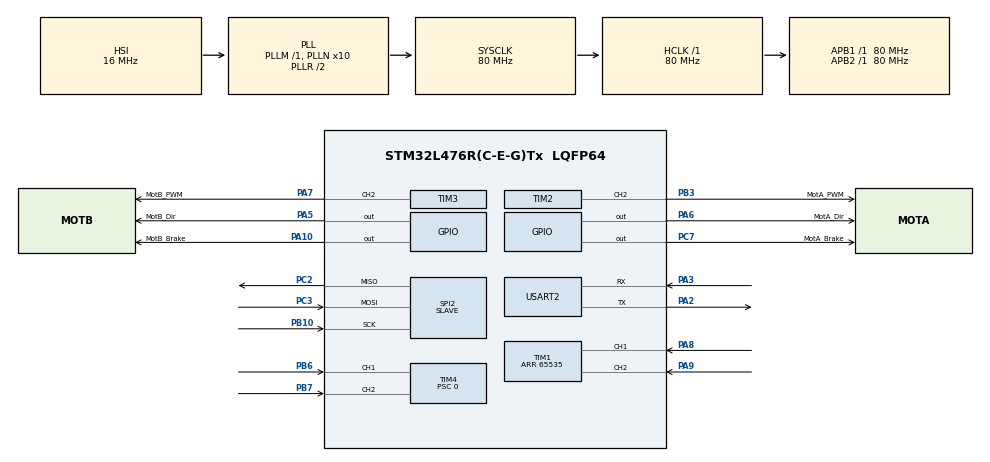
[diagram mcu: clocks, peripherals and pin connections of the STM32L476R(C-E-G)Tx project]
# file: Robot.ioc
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Mcu.Family=STM32L4
Mcu.Name=STM32L476R(C-E-G)Tx
Mcu.Package=LQFP64
NVIC.PriorityGroup=NVIC_PRIORITYGROUP_4
NVIC.TIM4_IRQn=true\:0\:0\:false\:false\:true\:true\:true
NVIC.USART2_IRQn=true\:0\:0\:false\:false\:true\:true\:true
PA10.GPIO_Label=MotB_Brake
PA10.Signal=GPIO_Output
PA2.Mode=Asynchronous
PA2.Signal=USART2_TX
PA3.Mode=Asynchronous
PA3.Signal=USART2_RX
PA5.GPIO_Label=MotB_Dir
PA5.Signal=GPIO_Output
PA6.GPIO_Label=MotA_Dir
PA6.Signal=GPIO_Output
PA7.GPIO_Label=MotB_PWM
PA7.Signal=S_TIM3_CH2
PA8.GPIO_PuPd=GPIO_PULLUP
PA8.Signal=S_TIM1_CH1
PA9.GPIO_PuPd=GPIO_PULLUP
PA9.Signal=S_TIM1_CH2
PB10.Mode=Full_Duplex_Slave
PB10.Signal=SPI2_SCK
PB3\ (JTDO-TRACESWO).GPIO_Label=MotA_PWM
PB3\ (JTDO-TRACESWO).Signal=S_TIM2_CH2
PB6.GPIO_PuPd=GPIO_PULLUP
PB6.Signal=S_TIM4_CH1
PB7.GPIO_PuPd=GPIO_PULLUP
PB7.Signal=S_TIM4_CH2
PC14-OSC32_IN\ (PC14).Mode=LSE-External-Oscillator
PC14-OSC32_IN\ (PC14).Signal=RCC_OSC32_IN
PC15-OSC32_OUT\ (PC15).Mode=LSE-External-Oscillator
PC15-OSC32_OUT\ (PC15).Signal=RCC_OSC32_OUT
PC2.Mode=Full_Duplex_Slave
PC2.Signal=SPI2_MISO
PC3.Mode=Full_Duplex_Slave
PC3.Signal=SPI2_MOSI
PC7.GPIO_Label=MotA_Brake
PC7.Signal=GPIO_Output
ProjectManager.HeapSize=0x200
ProjectManager.StackSize=0x400
ProjectManager.TargetToolchain=STM32CubeIDE
RCC.ADCFreq_Value=64000000
RCC.AHBFreq_Value=80000000
RCC.APB1Freq_Value=80000000
RCC.APB1TimFreq_Value=80000000
RCC.APB2Freq_Value=80000000
RCC.APB2TimFreq_Value=80000000
RCC.CortexFreq_Value=80000000
RCC.HCLKFreq_Value=80000000
RCC.HSE_VALUE=8000000
RCC.HSI_VALUE=16000000
RCC.MSI_VALUE=4000000
RCC.PLLN=10
RCC.PLLSourceVirtual=RCC_PLLSOURCE_HSI
RCC.PREFETCH_ENABLE=1
RCC.SYSCLKFreq_VALUE=80000000
RCC.SYSCLKSource=RCC_SYSCLKSOURCE_PLLCLK
RCC.USBFreq_Value=64000000
RCC.VCOOutputFreq_Value=160000000
SH.S_TIM1_CH1.0=TIM1_CH1,Encoder_Interface
SH.S_TIM1_CH2.0=TIM1_CH2,Encoder_Interface
SH.S_TIM2_CH2.0=TIM2_CH2,PWM Generation2 CH2
SH.S_TIM3_CH2.0=TIM3_CH2,PWM Generation2 CH2
SH.S_TIM4_CH1.0=TIM4_CH1,Encoder_Interface
SH.S_TIM4_CH2.0=TIM4_CH2,Encoder_Interface
SPI2.Direction=SPI_DIRECTION_2LINES
SPI2.Mode=SPI_MODE_SLAVE
SPI2.VirtualType=VM_SLAVE
TIM1.EncoderMode=TIM_ENCODERMODE_TI12
TIM1.IC1Filter=15
TIM1.IC2Filter=15
TIM1.Period=65535
TIM2.Channel-PWM\ Generation2\ CH2=TIM_CHANNEL_2
TIM3.Channel-PWM\ Generation2\ CH2=TIM_CHANNEL_2
TIM4.EncoderMode=TIM_ENCODERMODE_TI12
TIM4.IC1Filter=0
TIM4.IC2Filter=0
TIM4.Period=65535
TIM4.Prescaler=0
USART2.VirtualMode-Asynchronous=VM_ASYNC
board=NUCLEO-L476RG

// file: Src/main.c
/* USER CODE BEGIN Header */
/**
  ******************************************************************************
  * @file           : main.c
  * @brief          : Main program body
  ******************************************************************************
  * @attention
  *
  * <h2><center>&copy; Copyright (c) 2019 STMicroelectronics.
  * All rights reserved.</center></h2>
  *
  * This software component is licensed by ST under BSD 3-Clause license,
  * the "License"; You may not use this file except in compliance with the
  * License. You may obtain a copy of the License at:
  *                        opensource.org/licenses/BSD-3-Clause
  *
  ******************************************************************************
  */
/* USER CODE END Header */

#include "main.h"

/* USER CODE BEGIN Includes */
#include "string.h"
#include <stdio.h>
#include "robot.h"
#include "gcode.h"
#include "command.h"
/* USER CODE END Includes */

SPI_HandleTypeDef hspi2;

TIM_HandleTypeDef htim1;
TIM_HandleTypeDef htim2;
TIM_HandleTypeDef htim3;
TIM_HandleTypeDef htim4;

UART_HandleTypeDef huart2;

void SystemClock_Config(void);
static void MX_GPIO_Init(void);
static void MX_USART2_UART_Init(void);
static void MX_SPI2_Init(void);
static void MX_TIM2_Init(void);
static void MX_TIM4_Init(void);
static void MX_TIM1_Init(void);
static void MX_TIM3_Init(void);

/* USER CODE BEGIN 0 */

UART_HandleTypeDef huart2;

/* Single byte to store input */

char buffer[190];
uint8_t byte;
char command[190];
char *c = command;
gcodeCommand_context gcodeCommand;

void SystemClock_Config(void);

/* UART2 Interrupt Service Routine */
//void USART2_IRQHandler(void)
//{
//  HAL_UART_IRQHandler(&huart2);
//}

/* This callback is called by the HAL_UART_IRQHandler when the given number of bytes are received */
//void HAL_UART_RxCpltCallback(UART_HandleTypeDef *huart)
//{
//  if (huart->Instance == USART2)
//  {
//    /* Transmit one byte with 100 ms timeout */
//    HAL_UART_Transmit(&huart2, &byte, 1, 100);
//
//    /* Receive one byte in interrupt mode */
//    HAL_UART_Receive_IT(&huart2, &byte, 1);
//  }
//}
void HAL_UART_RxCpltCallback(UART_HandleTypeDef *huart);
//{
//  if (huart->Instance == USART2)
//  {
//	   *c = byte;
//	    c = c+1;
//
//	    if ((int)(c-command[0]) >= 190){
//	        // error, command cannot be longer than 190 char.
//	    }
//	    else if (byte == '\n'){ // ou fin de chaine
//	        if (gcode_parseAscii(&gcodeCommand, command)){
//	//        	HAL_UART_Transmit(&huart2, (uint8_t*)command, sprintf(buffer, command), 90000);
//	            peekCommand(&gcodeCommand, &robot);
//	        	HAL_UART_Transmit(&huart2, (uint8_t*)buffer, sprintf(buffer, "command's G: %d\r\n", gcodeCommand.G), 90000);
//
//	            c = command;
//	        }
//	        else {
//	            // error in command
//	        }
//	    }
//	    /* Receive one byte in interrupt mode */
//	    HAL_UART_Receive_IT(&huart2, &byte, 1);
//  }
//}

void uart_gpio_init()
{
  GPIO_InitTypeDef GPIO_InitStruct;

  __GPIOA_CLK_ENABLE();

  /**USART2 GPIO Configuration
  PA2     ------> USART2_TX
  PA3     ------> USART2_RX
  */
  GPIO_InitStruct.Pin = GPIO_PIN_2 | GPIO_PIN_3;
  GPIO_InitStruct.Mode = GPIO_MODE_AF_PP;
  GPIO_InitStruct.Pull = GPIO_PULLUP;
  GPIO_InitStruct.Speed = GPIO_SPEED_LOW;
  GPIO_InitStruct.Alternate = GPIO_AF7_USART2;
  HAL_GPIO_Init(GPIOA, &GPIO_InitStruct);
}

void uart_init()
{
  __USART2_CLK_ENABLE();

  huart2.Instance = USART2;
  huart2.Init.BaudRate = 115200;
  huart2.Init.WordLength = UART_WORDLENGTH_8B;
  huart2.Init.StopBits = UART_STOPBITS_1;
  huart2.Init.Parity = UART_PARITY_NONE;
  huart2.Init.Mode = UART_MODE_TX_RX;
  huart2.Init.HwFlowCtl = UART_HWCONTROL_NONE;
  huart2.Init.OverSampling = UART_OVERSAMPLING_16;
  HAL_UART_Init(&huart2);

  /* Peripheral interrupt init*/
  HAL_NVIC_SetPriority(USART2_IRQn, 0, 0);
  HAL_NVIC_EnableIRQ(USART2_IRQn);
}

motor_Context motorD, motorG;
odometry_Context odometry;
pid_Context pidD, pidG;
float distBetweenMotorWheels;
differential_Context differentiel;
motionControl_Context motionController;
diffDriveRobot_Context robot;
gcodeCommand_context gcodeCommand;

/* Single byte to store input */

/* UART2 Interrupt Service Routine */

void debugPrintln(UART_HandleTypeDef *huart, char _out[]){
	HAL_UART_Transmit(huart, (uint8_t *) _out, strlen(_out), 10);
	char newline[2] = "\r\n";
	HAL_UART_Transmit(huart, (uint8_t *) newline, 2, 10);
}
/* USER CODE END 0 */

int main(void)
{
  /* USER CODE BEGIN 1 */
  uint32_t dt, t, t0, tloop;
  dt = 10;
  t0 = HAL_GetTick();
  tloop = t0 + dt;

  uint32_t dtAff, tAff;
  dtAff = 10;
  tAff = t0 + dtAff;
  /* USER CODE END 1 */

  /* MCU Configuration--------------------------------------------------------*/

  /* Reset of all peripherals, Initializes the Flash interface and the Systick. */
  HAL_Init();

  /* Configure the system clock */
  SystemClock_Config();

  /* USER CODE BEGIN SysInit */
  uart_gpio_init();
  uart_init();
  /* USER CODE END SysInit */

  /* Initialize all configured peripherals */
  MX_GPIO_Init();
  MX_USART2_UART_Init();
  MX_SPI2_Init();
  MX_TIM2_Init();
  MX_TIM4_Init();
  MX_TIM1_Init();
  MX_TIM3_Init();
  /* USER CODE BEGIN 2 */
    HAL_UART_Transmit(&huart2, (uint8_t*)buffer, sprintf(buffer, "UART_OK\r\n"), 90000); //s/ @suppress("Float formatting support")

    setup();
	HAL_UART_Receive_IT(&huart2, &byte, 1);
  /* USER CODE END 2 */

  /* Infinite loop */
  /* USER CODE BEGIN WHILE */
	while (1)
	{
		t = HAL_GetTick() - t0;
		if (t>tloop) {
			tloop = tloop + dt;
			robot_update(&robot, dt);
		}
		if (t>tAff){
			tAff = tAff + dtAff;
			  // temps
			// HAL_UART_Transmit(&huart2, (uint8_t*)buffer, sprintf(buffer, "t: %d \r\n", (int)t), 5000); //s/ @suppress("Float formatting support")

			  // encoders
			// HAL_UART_Transmit(&huart2, (uint8_t*)buffer, sprintf(buffer, "g: %d | d: %d \r\n",(int)TIM4->CNT, (int)TIM1->CNT ), 5000); //s/ @suppress("Float formatting support")

			  //LinearDist AngularDist
//			 HAL_UART_Transmit(&huart2, (uint8_t*)buffer, sprintf(buffer, "linearDist: %f | angularDist: %f \r\n",odometry.linearDisplacement, odometry.angularDisplacement ), 5000); //s/ @suppress("Float formatting support")

			  // odometry
//			 HAL_UART_Transmit(&huart2, (uint8_t*)buffer, sprintf(buffer, "x: %f y: %f theta: %f\r\n", robot.odometry->position.x, robot.odometry->position.y, robot.odometry->position.theta), 5000); //s/ @suppress("Float formatting support")

			 // asservissement roues
//			HAL_UART_Transmit(&huart2, (uint8_t*)buffer, sprintf(buffer, "mes_g: %f | mes_d: %f | cmd_g: %f | cmd_d: %f | con_g: %f | con_d: %f \r\n", robot.mesureG, robot.mesureD, robot.commandG, robot.commandD, robot.vitG, robot.vitD), 90000); //s/ @suppress("Float formatting support")

		}
    /* USER CODE END WHILE */

	}
}

void SystemClock_Config(void)
{
  RCC_OscInitTypeDef RCC_OscInitStruct = {0};
  RCC_ClkInitTypeDef RCC_ClkInitStruct = {0};
  RCC_PeriphCLKInitTypeDef PeriphClkInit = {0};

  /** Initializes the CPU, AHB and APB busses clocks
  */
  RCC_OscInitStruct.OscillatorType = RCC_OSCILLATORTYPE_HSI;
  RCC_OscInitStruct.HSIState = RCC_HSI_ON;
  RCC_OscInitStruct.HSICalibrationValue = RCC_HSICALIBRATION_DEFAULT;
  RCC_OscInitStruct.PLL.PLLState = RCC_PLL_ON;
  RCC_OscInitStruct.PLL.PLLSource = RCC_PLLSOURCE_HSI;
  RCC_OscInitStruct.PLL.PLLM = 1;
  RCC_OscInitStruct.PLL.PLLN = 10;
  RCC_OscInitStruct.PLL.PLLP = RCC_PLLP_DIV7;
  RCC_OscInitStruct.PLL.PLLQ = RCC_PLLQ_DIV2;
  RCC_OscInitStruct.PLL.PLLR = RCC_PLLR_DIV2;
  if (HAL_RCC_OscConfig(&RCC_OscInitStruct) != HAL_OK)
  {
    Error_Handler();
  }
  /** Initializes the CPU, AHB and APB busses clocks
  */
  RCC_ClkInitStruct.ClockType = RCC_CLOCKTYPE_HCLK|RCC_CLOCKTYPE_SYSCLK
                              |RCC_CLOCKTYPE_PCLK1|RCC_CLOCKTYPE_PCLK2;
  RCC_ClkInitStruct.SYSCLKSource = RCC_SYSCLKSOURCE_PLLCLK;
  RCC_ClkInitStruct.AHBCLKDivider = RCC_SYSCLK_DIV1;
  RCC_ClkInitStruct.APB1CLKDivider = RCC_HCLK_DIV1;
  RCC_ClkInitStruct.APB2CLKDivider = RCC_HCLK_DIV1;

  if (HAL_RCC_ClockConfig(&RCC_ClkInitStruct, FLASH_LATENCY_4) != HAL_OK)
  {
    Error_Handler();
  }
  PeriphClkInit.PeriphClockSelection = RCC_PERIPHCLK_USART2;
  PeriphClkInit.Usart2ClockSelection = RCC_USART2CLKSOURCE_PCLK1;
  if (HAL_RCCEx_PeriphCLKConfig(&PeriphClkInit) != HAL_OK)
  {
    Error_Handler();
  }
  /** Configure the main internal regulator output voltage
  */
  if (HAL_PWREx_ControlVoltageScaling(PWR_REGULATOR_VOLTAGE_SCALE1) != HAL_OK)
  {
    Error_Handler();
  }
}

static void MX_SPI2_Init(void)
{

  /* SPI2 parameter configuration*/
  hspi2.Instance = SPI2;
  hspi2.Init.Mode = SPI_MODE_SLAVE;
  hspi2.Init.Direction = SPI_DIRECTION_2LINES;
  hspi2.Init.DataSize = SPI_DATASIZE_4BIT;
  hspi2.Init.CLKPolarity = SPI_POLARITY_LOW;
  hspi2.Init.CLKPhase = SPI_PHASE_1EDGE;
  hspi2.Init.NSS = SPI_NSS_SOFT;
  hspi2.Init.FirstBit = SPI_FIRSTBIT_MSB;
  hspi2.Init.TIMode = SPI_TIMODE_DISABLE;
  hspi2.Init.CRCCalculation = SPI_CRCCALCULATION_DISABLE;
  hspi2.Init.CRCPolynomial = 7;
  hspi2.Init.CRCLength = SPI_CRC_LENGTH_DATASIZE;
  hspi2.Init.NSSPMode = SPI_NSS_PULSE_DISABLE;
  if (HAL_SPI_Init(&hspi2) != HAL_OK)
  {
    Error_Handler();
  }

}

static void MX_TIM1_Init(void)
{

  TIM_Encoder_InitTypeDef sConfig = {0};
  TIM_MasterConfigTypeDef sMasterConfig = {0};

  htim1.Instance = TIM1;
  htim1.Init.Prescaler = 0;
  htim1.Init.CounterMode = TIM_COUNTERMODE_UP;
  htim1.Init.Period = 65535;
  htim1.Init.ClockDivision = TIM_CLOCKDIVISION_DIV1;
  htim1.Init.RepetitionCounter = 0;
  htim1.Init.AutoReloadPreload = TIM_AUTORELOAD_PRELOAD_DISABLE;
  sConfig.EncoderMode = TIM_ENCODERMODE_TI12;
  sConfig.IC1Polarity = TIM_ICPOLARITY_RISING;
  sConfig.IC1Selection = TIM_ICSELECTION_DIRECTTI;
  sConfig.IC1Prescaler = TIM_ICPSC_DIV1;
  sConfig.IC1Filter = 15;
  sConfig.IC2Polarity = TIM_ICPOLARITY_RISING;
  sConfig.IC2Selection = TIM_ICSELECTION_DIRECTTI;
  sConfig.IC2Prescaler = TIM_ICPSC_DIV1;
  sConfig.IC2Filter = 15;
  if (HAL_TIM_Encoder_Init(&htim1, &sConfig) != HAL_OK)
  {
    Error_Handler();
  }
  sMasterConfig.MasterOutputTrigger = TIM_TRGO_RESET;
  sMasterConfig.MasterOutputTrigger2 = TIM_TRGO2_RESET;
  sMasterConfig.MasterSlaveMode = TIM_MASTERSLAVEMODE_DISABLE;
  if (HAL_TIMEx_MasterConfigSynchronization(&htim1, &sMasterConfig) != HAL_OK)
  {
    Error_Handler();
  }
  /* USER CODE BEGIN TIM1_Init 2 */
  TIM1->CR1 = 1;
  /* USER CODE END TIM1_Init 2 */

}

static void MX_TIM2_Init(void)
{

  TIM_MasterConfigTypeDef sMasterConfig = {0};
  TIM_OC_InitTypeDef sConfigOC = {0};

  htim2.Instance = TIM2;
  htim2.Init.Prescaler = 0;
  htim2.Init.CounterMode = TIM_COUNTERMODE_UP;
  htim2.Init.Period = 0;
  htim2.Init.ClockDivision = TIM_CLOCKDIVISION_DIV1;
  htim2.Init.AutoReloadPreload = TIM_AUTORELOAD_PRELOAD_DISABLE;
  if (HAL_TIM_PWM_Init(&htim2) != HAL_OK)
  {
    Error_Handler();
  }
  sMasterConfig.MasterOutputTrigger = TIM_TRGO_RESET;
  sMasterConfig.MasterSlaveMode = TIM_MASTERSLAVEMODE_DISABLE;
  if (HAL_TIMEx_MasterConfigSynchronization(&htim2, &sMasterConfig) != HAL_OK)
  {
    Error_Handler();
  }
  sConfigOC.OCMode = TIM_OCMODE_PWM1;
  sConfigOC.Pulse = 0;
  sConfigOC.OCPolarity = TIM_OCPOLARITY_HIGH;
  sConfigOC.OCFastMode = TIM_OCFAST_DISABLE;
  if (HAL_TIM_PWM_ConfigChannel(&htim2, &sConfigOC, TIM_CHANNEL_2) != HAL_OK)
  {
    Error_Handler();
  }
  HAL_TIM_MspPostInit(&htim2);

}

static void MX_TIM3_Init(void)
{

  TIM_MasterConfigTypeDef sMasterConfig = {0};
  TIM_OC_InitTypeDef sConfigOC = {0};

  htim3.Instance = TIM3;
  htim3.Init.Prescaler = 0;
  htim3.Init.CounterMode = TIM_COUNTERMODE_UP;
  htim3.Init.Period = 0;
  htim3.Init.ClockDivision = TIM_CLOCKDIVISION_DIV1;
  htim3.Init.AutoReloadPreload = TIM_AUTORELOAD_PRELOAD_DISABLE;
  if (HAL_TIM_PWM_Init(&htim3) != HAL_OK)
  {
    Error_Handler();
  }
  sMasterConfig.MasterOutputTrigger = TIM_TRGO_RESET;
  sMasterConfig.MasterSlaveMode = TIM_MASTERSLAVEMODE_DISABLE;
  if (HAL_TIMEx_MasterConfigSynchronization(&htim3, &sMasterConfig) != HAL_OK)
  {
    Error_Handler();
  }
  sConfigOC.OCMode = TIM_OCMODE_PWM1;
  sConfigOC.Pulse = 0;
  sConfigOC.OCPolarity = TIM_OCPOLARITY_HIGH;
  sConfigOC.OCFastMode = TIM_OCFAST_DISABLE;
  if (HAL_TIM_PWM_ConfigChannel(&htim3, &sConfigOC, TIM_CHANNEL_2) != HAL_OK)
  {
    Error_Handler();
  }
  HAL_TIM_MspPostInit(&htim3);

}

static void MX_TIM4_Init(void)
{

  TIM_Encoder_InitTypeDef sConfig = {0};
  TIM_MasterConfigTypeDef sMasterConfig = {0};

  htim4.Instance = TIM4;
  htim4.Init.Prescaler = 0;
  htim4.Init.CounterMode = TIM_COUNTERMODE_UP;
  htim4.Init.Period = 65535;
  htim4.Init.ClockDivision = TIM_CLOCKDIVISION_DIV1;
  htim4.Init.AutoReloadPreload = TIM_AUTORELOAD_PRELOAD_DISABLE;
  sConfig.EncoderMode = TIM_ENCODERMODE_TI12;
  sConfig.IC1Polarity = TIM_ICPOLARITY_RISING;
  sConfig.IC1Selection = TIM_ICSELECTION_DIRECTTI;
  sConfig.IC1Prescaler = TIM_ICPSC_DIV1;
  sConfig.IC1Filter = 0;
  sConfig.IC2Polarity = TIM_ICPOLARITY_RISING;
  sConfig.IC2Selection = TIM_ICSELECTION_DIRECTTI;
  sConfig.IC2Prescaler = TIM_ICPSC_DIV1;
  sConfig.IC2Filter = 0;
  if (HAL_TIM_Encoder_Init(&htim4, &sConfig) != HAL_OK)
  {
    Error_Handler();
  }
  sMasterConfig.MasterOutputTrigger = TIM_TRGO_RESET;
  sMasterConfig.MasterSlaveMode = TIM_MASTERSLAVEMODE_DISABLE;
  if (HAL_TIMEx_MasterConfigSynchronization(&htim4, &sMasterConfig) != HAL_OK)
  {
    Error_Handler();
  }
  /* USER CODE BEGIN TIM4_Init 2 */
  TIM4->CR1 = 1;
  /* USER CODE END TIM4_Init 2 */

}

static void MX_USART2_UART_Init(void)
{

  huart2.Instance = USART2;
  huart2.Init.BaudRate = 115200;
  huart2.Init.WordLength = UART_WORDLENGTH_8B;
  huart2.Init.StopBits = UART_STOPBITS_1;
  huart2.Init.Parity = UART_PARITY_NONE;
  huart2.Init.Mode = UART_MODE_TX_RX;
  huart2.Init.HwFlowCtl = UART_HWCONTROL_NONE;
  huart2.Init.OverSampling = UART_OVERSAMPLING_16;
  huart2.Init.OneBitSampling = UART_ONE_BIT_SAMPLE_DISABLE;
  huart2.AdvancedInit.AdvFeatureInit = UART_ADVFEATURE_NO_INIT;
  if (HAL_UART_Init(&huart2) != HAL_OK)
  {
    Error_Handler();
  }
  /* USER CODE BEGIN USART2_Init 2 */
	  __USART2_CLK_ENABLE();

	  huart2.Instance = USART2;
	  huart2.Init.BaudRate = 115200;
	  huart2.Init.WordLength = UART_WORDLENGTH_8B;
	  huart2.Init.StopBits = UART_STOPBITS_1;
	  huart2.Init.Parity = UART_PARITY_NONE;
	  huart2.Init.Mode = UART_MODE_TX_RX;
	  huart2.Init.HwFlowCtl = UART_HWCONTROL_NONE;
	  huart2.Init.OverSampling = UART_OVERSAMPLING_16;
	  HAL_UART_Init(&huart2);

	  /* Peripheral interrupt init*/
	  HAL_NVIC_SetPriority(USART2_IRQn, 0, 0);
	  HAL_NVIC_EnableIRQ(USART2_IRQn);
  /* USER CODE END USART2_Init 2 */

}

static void MX_GPIO_Init(void)
{
  GPIO_InitTypeDef GPIO_InitStruct = {0};

  /* GPIO Ports Clock Enable */
  __HAL_RCC_GPIOC_CLK_ENABLE();
  __HAL_RCC_GPIOA_CLK_ENABLE();
  __HAL_RCC_GPIOB_CLK_ENABLE();

  /*Configure GPIO pin Output Level */
  HAL_GPIO_WritePin(GPIOA, MotB_Dir_Pin|MotA_Dir_Pin|MotB_Brake_Pin, GPIO_PIN_RESET);

  /*Configure GPIO pin Output Level */
  HAL_GPIO_WritePin(MotA_Brake_GPIO_Port, MotA_Brake_Pin, GPIO_PIN_RESET);

  /*Configure GPIO pins : MotB_Dir_Pin MotA_Dir_Pin MotB_Brake_Pin */
  GPIO_InitStruct.Pin = MotB_Dir_Pin|MotA_Dir_Pin|MotB_Brake_Pin;
  GPIO_InitStruct.Mode = GPIO_MODE_OUTPUT_PP;
  GPIO_InitStruct.Pull = GPIO_NOPULL;
  GPIO_InitStruct.Speed = GPIO_SPEED_FREQ_LOW;
  HAL_GPIO_Init(GPIOA, &GPIO_InitStruct);

  /*Configure GPIO pin : MotA_Brake_Pin */
  GPIO_InitStruct.Pin = MotA_Brake_Pin;
  GPIO_InitStruct.Mode = GPIO_MODE_OUTPUT_PP;
  GPIO_InitStruct.Pull = GPIO_NOPULL;
  GPIO_InitStruct.Speed = GPIO_SPEED_FREQ_LOW;
  HAL_GPIO_Init(MotA_Brake_GPIO_Port, &GPIO_InitStruct);

}

/* USER CODE BEGIN 4 */
void setup(){
    motorD.timer	 		= htim3;
    motorD.channel	 	= TIM_CHANNEL_2;
    motorD.motDir_Port	= MotB_Dir_GPIO_Port;
    motorD.motDir_Pin	 	= MotB_Dir_Pin;
    motorD.motBrake_Port	= MotB_Brake_GPIO_Port;
    motorD.motBrake_Pin	= MotB_Brake_Pin;
    motorD.reverseDir	 	= false;
    motorD.maxPWM = 255;

    motorG.timer	 		= htim2;
    motorG.channel	 	= TIM_CHANNEL_2;
    motorG.motDir_Port	= MotA_Dir_GPIO_Port;
    motorG.motDir_Pin	 	= MotA_Dir_Pin;
    motorG.motBrake_Port	= MotA_Brake_GPIO_Port;
    motorG.motBrake_Pin	= MotA_Brake_Pin;
    motorG.reverseDir	 	= true;
    motorG.maxPWM = 255;

    odometry.rightTicks = (int16_t*)&TIM4->CNT; // cast uint vers int
    odometry.leftTicks =  (int16_t*)&TIM1->CNT;
    odometry.encoderRes = 				480; // tick/tour
    odometry.wheelRadiusR = 			64.8/2.;
    odometry.wheelRadiusL = 			64.8/2.;
    odometry.distanceBetweenWheels = 	210.;

    pidD.Kp			= 0.162;
    pidD.Ti			= 0.024;
    pidD.Td			= 0.006;
    pidD.minOut		= -255;
    pidD.maxOut		= 255;

    pidG.Kp			= 0.162;
    pidG.Ti			= 0.024;
    pidG.Td			= 0.006;
    pidG.minOut		= -255;
    pidG.maxOut		= 255;

    distBetweenMotorWheels = 180.;// mm

    differentiel.distanceBetweenWheels	= distBetweenMotorWheels;
    differentiel.maxLinearVelocity	 	= 500.; // mm.s^-1
    differentiel.maxAngularVelocity	 	= 5.55; // rad.s^-1

    motionController.Krho = 					0.6;
    motionController.Kalpha = 					1.5;

    motionController.Srho =                     0.5;//mm; cm?
    motionController.Salpha =                   1*PI/180;

    motionController.rampLin.aFrein =           0.02;
    motionController.rampLin.aMax =             0.02;
    motionController.rampLin.vMax =             500;
    motionController.rampLin.lastPos =          0;

    motionController.rampAng.aFrein =           0.2;
    motionController.rampAng.aMax =             0.5;
    motionController.rampAng.vMax =             5.55;
    motionController.rampAng.lastPos =          0;

    robot.odometry = &odometry;
    robot.differential = &differentiel;
    robot.motionController = &motionController;
    robot.motorD = &motorD;
    robot.motorG = &motorG;
    robot.pidD = &pidD;
    robot.pidG = &pidG;
    robot.distBetweenMotorWheels = distBetweenMotorWheels;
    robot.controlMode = 0;

    robot_init(&robot, 0., 0., 0.);
    motor_breake(&motorD);
    motor_breake(&motorG);

}

void HAL_UART_RxCpltCallback(UART_HandleTypeDef *huart)
{
  if (huart->Instance == USART2)
  {
	  static int pos;

	  if (!pos)
		  pos = 1;
	   *c = byte;
	    c = c+1;
	    pos++;

//    	HAL_UART_Transmit(&huart2, (uint8_t*)buffer, sprintf(buffer, "%d", strlen(command)), 90000);

	    if (pos >= 190)//(int)(c-command) >= 190){
	    {
	    	c = command;// error, command cannot be longer than 190 char.
	    	pos = 0;
	    }else
	    if (byte == '\n'){ // ou fin de chaine
            *c = '\0';
	        if (gcode_parseAscii(&gcodeCommand, command)){
	            peekCommand(&gcodeCommand, &robot, huart);
	        	// HAL_UART_Transmit(&huart2, (uint8_t*)buffer, sprintf(buffer, command), 90000);
	        }
	        else {
	            // error in command
            }
            c = command;
            pos = 0;
	    }
	    /* Receive one byte in interrupt mode */
	    HAL_UART_Receive_IT(&huart2, &byte, 1);
  }
}
/* USER CODE END 4 */

void Error_Handler(void)
{
}

/************************ (C) COPYRIGHT STMicroelectronics *****END OF FILE****/
